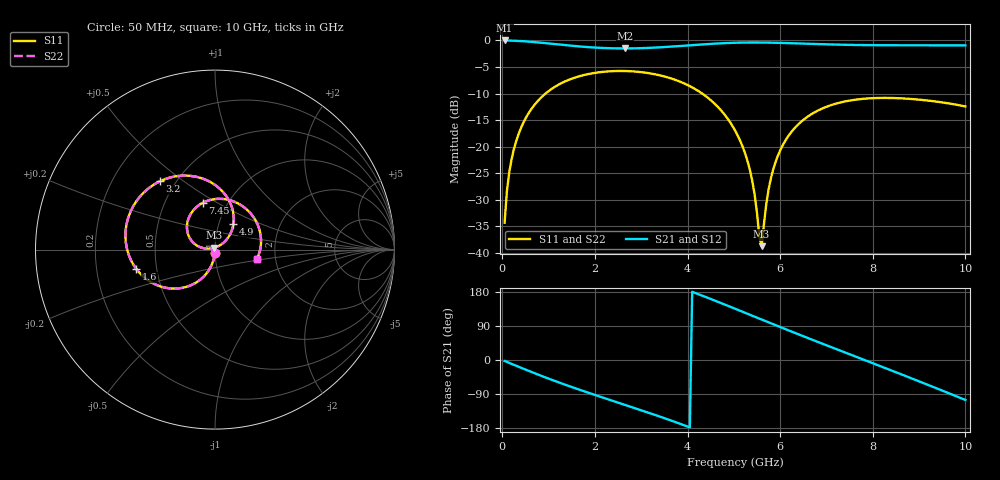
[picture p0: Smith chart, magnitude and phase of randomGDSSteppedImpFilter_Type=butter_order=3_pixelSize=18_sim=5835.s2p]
! freq	dB(S11)	phase(S11)	dB(S12)	phase(S12)
!  dB(S21)	phase(S21)	dB(S22)	phase(S22)
!S-par simulation data
#  GHz  S  DB  R 50
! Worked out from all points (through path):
!   200 points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, 50 MHz to 10 GHz, reference 50 ohm
!   highest |S21| = 0.00 dB at 50 MHz (marker M1); lowest = -1.5 dB at 2.65 GHz (marker M2)
!   group delay of S21, straight-line fit = 129 ps
!   lowest |S11| = -38.7 dB at 5.6 GHz (marker M3), VSWR 1.02, Z = 49.4 + j0.973 ohm
!   |S11| at or under -10 dB: start of sweep to 934.5 MHz; 4.316 GHz to end of sweep
!   |S22| runs from -38.6 to -5.7 dB; largest |S21 - S12| = 0
!   S11 on the Smith chart (normalised r, x): 50 MHz: 1.00, -0.04; 1.6 GHz: 0.38, -0.10; 3.2 GHz: 0.41, +0.41; 4.9 GHz: 1.17, +0.34; 7.45 GHz: 0.77, +0.43; 10 GHz: 1.60, -0.17
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0.05  -34.31 -92.7  -0.00 -2.6  -0.00 -2.6  -34.31 -92.7
0.1  -28.32 -95.5  -0.01 -5.2  -0.01 -5.2  -28.32 -95.5
0.2  -22.39 -100.7  -0.04 -10.2  -0.04 -10.2  -22.39 -100.7
0.45  -15.58 -113.2  -0.15 -22.8  -0.15 -22.8  -15.58 -113.2
1  -9.54 -139.7  -0.57 -49.2  -0.57 -49.2  -9.54 -139.7
1.6  -6.91 -166.2  -1.09 -75.6  -1.09 -75.6  -6.91 -166.2
1.75  -6.54 -172.5  -1.19 -81.9  -1.19 -81.9  -6.54 -172.5
2.65  -5.76 151.1  -1.51 -118.4  -1.51 -118.4  -5.76 151.1
3.2  -6.22 128.9  -1.39 -140.8  -1.39 -140.8  -6.22 128.9
3.4  -6.57 120.6  -1.30 -149.2  -1.30 -149.2  -6.57 120.6
4.2  -9.34 85.8  -0.82 175.3  -0.82 175.3  -9.34 85.8
4.9  -15.15 54.1  -0.47 141.6  -0.47 141.6  -15.15 54.1
5.05  -17.33 47.8  -0.43 134.2  -0.43 134.2  -17.33 47.8
5.35  -24.52 39.1  -0.39 119.3  -0.39 119.3  -24.52 39.2
5.6  -38.74 121.6  -0.39 106.8  -0.39 106.8  -38.61 121.4
5.75  -28.06 172.2  -0.41 99.3  -0.41 99.3  -28.04 171.9
5.95  -21.73 170.9  -0.45 89.5  -0.45 89.5  -21.72 170.8
6.7  -13.75 139.5  -0.65 53.1  -0.65 53.1  -13.75 139.4
7.45  -11.40 105.0  -0.83 17.5  -0.83 17.5  -11.40 104.9
8.35  -10.83 63.4  -0.91 -25.1  -0.91 -25.1  -10.83 63.3
9.25  -11.38 21.9  -0.92 -68.5  -0.92 -68.5  -11.38 21.9
10  -12.43 -12.2  -0.93 -105.4  -0.93 -105.4  -12.43 -12.1
